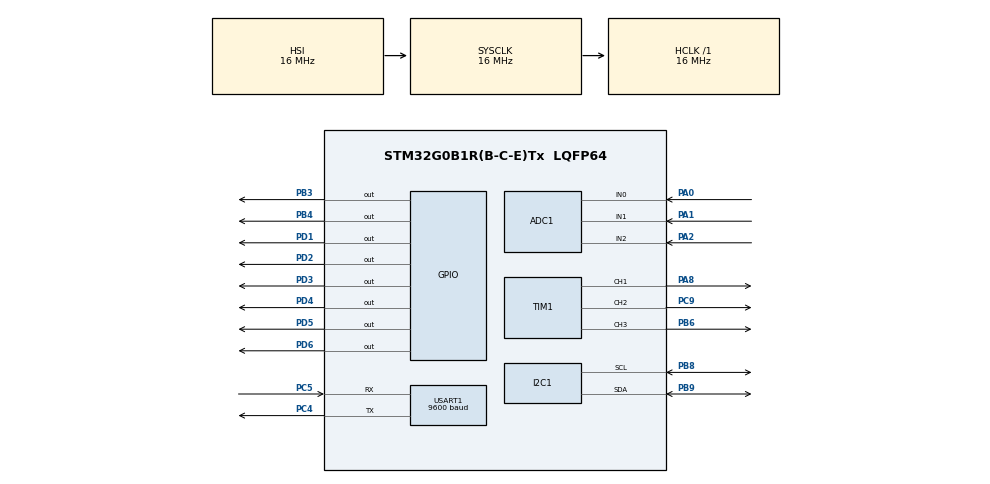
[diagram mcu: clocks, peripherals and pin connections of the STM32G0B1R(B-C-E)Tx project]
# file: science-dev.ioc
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ADC1.Channel-0\#ChannelRegularConversion=ADC_CHANNEL_0
ADC1.Channel-1\#ChannelRegularConversion=ADC_CHANNEL_1
ADC1.Channel-2\#ChannelRegularConversion=ADC_CHANNEL_2
ADC1.DiscontinuousConvMode=ENABLE
ADC1.NbrOfConversion=3
ADC1.NbrOfConversionFlag=1
ADC1.Rank-0\#ChannelRegularConversion=1
ADC1.Rank-1\#ChannelRegularConversion=2
ADC1.Rank-2\#ChannelRegularConversion=3
ADC1.SamplingTime-0\#ChannelRegularConversion=ADC_SAMPLINGTIME_COMMON_1
ADC1.SamplingTime-1\#ChannelRegularConversion=ADC_SAMPLINGTIME_COMMON_1
ADC1.SamplingTime-2\#ChannelRegularConversion=ADC_SAMPLINGTIME_COMMON_1
ADC1.SelectedChannel=ADC_CHANNEL_0|ADC_CHANNEL_1|ADC_CHANNEL_2
ADC1.master=1
Dma.ADC1.0.Direction=DMA_PERIPH_TO_MEMORY
Dma.ADC1.0.EventEnable=DISABLE
Dma.ADC1.0.Instance=DMA1_Channel1
Dma.ADC1.0.MemDataAlignment=DMA_MDATAALIGN_HALFWORD
Dma.ADC1.0.MemInc=DMA_MINC_ENABLE
Dma.ADC1.0.Mode=DMA_CIRCULAR
Dma.ADC1.0.PeriphDataAlignment=DMA_PDATAALIGN_HALFWORD
Dma.ADC1.0.PeriphInc=DMA_PINC_DISABLE
Dma.ADC1.0.Polarity=HAL_DMAMUX_REQ_GEN_RISING
Dma.ADC1.0.Priority=DMA_PRIORITY_LOW
Dma.ADC1.0.RequestNumber=1
Dma.ADC1.0.SignalID=NONE
Dma.ADC1.0.SyncEnable=DISABLE
Dma.ADC1.0.SyncPolarity=HAL_DMAMUX_SYNC_NO_EVENT
Dma.ADC1.0.SyncRequestNumber=1
Dma.ADC1.0.SyncSignalID=NONE
Dma.Request0=ADC1
Mcu.Family=STM32G0
Mcu.Name=STM32G0B1R(B-C-E)Tx
Mcu.Package=LQFP64
NVIC.DMA1_Channel1_IRQn=true\:0\:0\:false\:false\:true\:false\:true\:true
PA0.Mode=IN0
PA0.Signal=ADC1_IN0
PA1.Mode=IN1
PA1.Signal=ADC1_IN1
PA13.GPIO_Label=TMS
PA13.Signal=SYS_SWDIO
PA14-BOOT0.GPIO_Label=TCK
PA14-BOOT0.Signal=SYS_SWCLK
PA2.Mode=IN2
PA2.Signal=ADC1_IN2
PA8.Signal=S_TIM1_CH1
PB3.Signal=GPIO_Output
PB4.Signal=GPIO_Output
PB6.Signal=S_TIM1_CH3
PB8.Mode=I2C
PB8.Signal=I2C1_SCL
PB9.Mode=I2C
PB9.Signal=I2C1_SDA
PC13.Signal=SYS_WKUP2
PC14-OSC32_IN\ (PC14).Signal=RCC_OSC32_IN
PC15-OSC32_OUT\ (PC15).Signal=RCC_OSC32_OUT
PC4.Mode=Asynchronous
PC4.Signal=USART1_TX
PC5.Mode=Asynchronous
PC5.Signal=USART1_RX
PC9.Signal=S_TIM1_CH2
PD1.Signal=GPIO_Output
PD2.Signal=GPIO_Output
PD3.Signal=GPIO_Output
PD4.Signal=GPIO_Output
PD5.Signal=GPIO_Output
PD6.Signal=GPIO_Output
PF0-OSC_IN\ (PF0).GPIO_Label=MCO
PF0-OSC_IN\ (PF0).Signal=RCC_OSC_IN
ProjectManager.HeapSize=0x200
ProjectManager.StackSize=0x400
ProjectManager.TargetToolchain=STM32CubeIDE
RCC.AHBFreq_Value=16000000
RCC.CortexFreq_Value=16000000
RCC.EXTERNAL_CLOCK_VALUE=12288000
RCC.HCLKFreq_Value=16000000
RCC.HSE_VALUE=8000000
RCC.HSI48_VALUE=48000000
RCC.HSI_VALUE=16000000
RCC.LSE_VALUE=32768
RCC.SYSCLKFreq_VALUE=16000000
RCC.USBFreq_Value=48000000
RCC.VCOOutputFreq_Value=128000000
SH.S_TIM1_CH1.0=TIM1_CH1,PWM Generation1 CH1
SH.S_TIM1_CH2.0=TIM1_CH2,PWM Generation2 CH2
SH.S_TIM1_CH3.0=TIM1_CH3,PWM Generation3 CH3
TIM1.Channel-PWM\ Generation1\ CH1=TIM_CHANNEL_1
TIM1.Channel-PWM\ Generation2\ CH2=TIM_CHANNEL_2
TIM1.Channel-PWM\ Generation3\ CH3=TIM_CHANNEL_3
USART1.BaudRate=9600
USART1.VirtualMode-Asynchronous=VM_ASYNC
board=NUCLEO-G0B1RE

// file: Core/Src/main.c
/* USER CODE BEGIN Header */
/**
  ******************************************************************************
  * @file           : main.c
  * @brief          : Main program body
  ******************************************************************************
  * @attention
  *
  * Copyright (c) 2022 STMicroelectronics.
  * All rights reserved.
  *
  * This software is licensed under terms that can be found in the LICENSE file
  * in the root directory of this software component.
  * If no LICENSE file comes with this software, it is provided AS-IS.
  *
  ******************************************************************************
  */
/* USER CODE END Header */
#include "main.h"

/* USER CODE BEGIN Includes */

#include "bridge.h"
#include "mosfet.h"
#include "servo.h"
#include "spectral.h"
#include "thermistor.h"

/* USER CODE END Includes */

ADC_HandleTypeDef hadc1;

I2C_HandleTypeDef hi2c1;

TIM_HandleTypeDef htim1;

UART_HandleTypeDef huart1;

/* USER CODE BEGIN PV */

Bridge* bridge = NULL;
SMBus* smbus = NULL;
Spectral* spectral = NULL;

uint16_t spectral_data[SPECTRAL_CHANNELS] = {0};

/* USER CODE END PV */

void SystemClock_Config(void);
static void MX_GPIO_Init(void);
static void MX_ADC1_Init(void);
static void MX_I2C1_Init(void);
static void MX_TIM1_Init(void);
static void MX_USART1_UART_Init(void);

int main(void)
{
  /* USER CODE BEGIN 1 */

	bridge = new_bridge(&huart1);
	smbus = new_smbus(&hi2c1, NULL, false);
	spectral = new_spectral(smbus);

  /* USER CODE END 1 */

  /* MCU Configuration--------------------------------------------------------*/

  /* Reset of all peripherals, Initializes the Flash interface and the Systick. */
  HAL_Init();

  /* Configure the system clock */
  SystemClock_Config();

  /* Initialize all configured peripherals */
  MX_GPIO_Init();
  MX_ADC1_Init();
  MX_I2C1_Init();
  MX_TIM1_Init();
  MX_USART1_UART_Init();
  /* USER CODE BEGIN 2 */

  // PB9 SDA, PB8 SCL

  /* USER CODE END 2 */

  /* Infinite loop */
  while (1)
  {

    /* USER CODE BEGIN 3 */
	// Initialize spectral (in case it disconnected before and needs to reconnect)
	initialize_spectral(spectral);

	HAL_GPIO_WritePin(GPIOD, GPIO_PIN_2, GPIO_PIN_RESET);

	for (size_t i = 0; i < SPECTRAL_CHANNELS; ++i) {
	  uint8_t error_flag = 0;
	  update_spectral_channel_data(spectral, i, I2C_51, error_flag);

	  // If spectral I2C NAKs, leave early
	  if(error_flag) {
		  break;
	  }

	  spectral_data[i] = get_spectral_channel_data(spectral, i);
	}
//	bridge_send_spectral(bridge, spectral_data);

	HAL_GPIO_WritePin(GPIOD, GPIO_PIN_2, GPIO_PIN_SET);
  }
  /* USER CODE END 3 */
}

void SystemClock_Config(void)
{
  RCC_OscInitTypeDef RCC_OscInitStruct = {0};
  RCC_ClkInitTypeDef RCC_ClkInitStruct = {0};

  /** Configure the main internal regulator output voltage
  */
  HAL_PWREx_ControlVoltageScaling(PWR_REGULATOR_VOLTAGE_SCALE1);

  /** Initializes the RCC Oscillators according to the specified parameters
  * in the RCC_OscInitTypeDef structure.
  */
  RCC_OscInitStruct.OscillatorType = RCC_OSCILLATORTYPE_HSI;
  RCC_OscInitStruct.HSIState = RCC_HSI_ON;
  RCC_OscInitStruct.HSIDiv = RCC_HSI_DIV1;
  RCC_OscInitStruct.HSICalibrationValue = RCC_HSICALIBRATION_DEFAULT;
  RCC_OscInitStruct.PLL.PLLState = RCC_PLL_NONE;
  if (HAL_RCC_OscConfig(&RCC_OscInitStruct) != HAL_OK)
  {
    Error_Handler();
  }

  /** Initializes the CPU, AHB and APB buses clocks
  */
  RCC_ClkInitStruct.ClockType = RCC_CLOCKTYPE_HCLK|RCC_CLOCKTYPE_SYSCLK
                              |RCC_CLOCKTYPE_PCLK1;
  RCC_ClkInitStruct.SYSCLKSource = RCC_SYSCLKSOURCE_HSI;
  RCC_ClkInitStruct.AHBCLKDivider = RCC_SYSCLK_DIV1;
  RCC_ClkInitStruct.APB1CLKDivider = RCC_HCLK_DIV1;

  if (HAL_RCC_ClockConfig(&RCC_ClkInitStruct, FLASH_LATENCY_0) != HAL_OK)
  {
    Error_Handler();
  }
}

static void MX_ADC1_Init(void)
{

  ADC_ChannelConfTypeDef sConfig = {0};

  /** Configure the global features of the ADC (Clock, Resolution, Data Alignment and number of conversion)
  */
  hadc1.Instance = ADC1;
  hadc1.Init.ClockPrescaler = ADC_CLOCK_SYNC_PCLK_DIV2;
  hadc1.Init.Resolution = ADC_RESOLUTION_12B;
  hadc1.Init.DataAlign = ADC_DATAALIGN_RIGHT;
  hadc1.Init.ScanConvMode = ADC_SCAN_DISABLE;
  hadc1.Init.EOCSelection = ADC_EOC_SINGLE_CONV;
  hadc1.Init.LowPowerAutoWait = DISABLE;
  hadc1.Init.LowPowerAutoPowerOff = DISABLE;
  hadc1.Init.ContinuousConvMode = DISABLE;
  hadc1.Init.NbrOfConversion = 1;
  hadc1.Init.DiscontinuousConvMode = DISABLE;
  hadc1.Init.ExternalTrigConv = ADC_SOFTWARE_START;
  hadc1.Init.ExternalTrigConvEdge = ADC_EXTERNALTRIGCONVEDGE_NONE;
  hadc1.Init.DMAContinuousRequests = DISABLE;
  hadc1.Init.Overrun = ADC_OVR_DATA_PRESERVED;
  hadc1.Init.SamplingTimeCommon1 = ADC_SAMPLETIME_1CYCLE_5;
  hadc1.Init.SamplingTimeCommon2 = ADC_SAMPLETIME_1CYCLE_5;
  hadc1.Init.OversamplingMode = DISABLE;
  hadc1.Init.TriggerFrequencyMode = ADC_TRIGGER_FREQ_HIGH;
  if (HAL_ADC_Init(&hadc1) != HAL_OK)
  {
    Error_Handler();
  }

  /** Configure Regular Channel
  */
  sConfig.Channel = ADC_CHANNEL_0;
  sConfig.Rank = ADC_REGULAR_RANK_1;
  sConfig.SamplingTime = ADC_SAMPLINGTIME_COMMON_1;
  if (HAL_ADC_ConfigChannel(&hadc1, &sConfig) != HAL_OK)
  {
    Error_Handler();
  }

}

static void MX_I2C1_Init(void)
{

  hi2c1.Instance = I2C1;
  hi2c1.Init.Timing = 0x00303D5B;
  hi2c1.Init.OwnAddress1 = 0;
  hi2c1.Init.AddressingMode = I2C_ADDRESSINGMODE_7BIT;
  hi2c1.Init.DualAddressMode = I2C_DUALADDRESS_DISABLE;
  hi2c1.Init.OwnAddress2 = 0;
  hi2c1.Init.OwnAddress2Masks = I2C_OA2_NOMASK;
  hi2c1.Init.GeneralCallMode = I2C_GENERALCALL_DISABLE;
  hi2c1.Init.NoStretchMode = I2C_NOSTRETCH_DISABLE;
  if (HAL_I2C_Init(&hi2c1) != HAL_OK)
  {
    Error_Handler();
  }

  /** Configure Analogue filter
  */
  if (HAL_I2CEx_ConfigAnalogFilter(&hi2c1, I2C_ANALOGFILTER_ENABLE) != HAL_OK)
  {
    Error_Handler();
  }

  /** Configure Digital filter
  */
  if (HAL_I2CEx_ConfigDigitalFilter(&hi2c1, 0) != HAL_OK)
  {
    Error_Handler();
  }

}

static void MX_TIM1_Init(void)
{

  TIM_MasterConfigTypeDef sMasterConfig = {0};
  TIM_OC_InitTypeDef sConfigOC = {0};
  TIM_BreakDeadTimeConfigTypeDef sBreakDeadTimeConfig = {0};

  htim1.Instance = TIM1;
  htim1.Init.Prescaler = 0;
  htim1.Init.CounterMode = TIM_COUNTERMODE_UP;
  htim1.Init.Period = 65535;
  htim1.Init.ClockDivision = TIM_CLOCKDIVISION_DIV1;
  htim1.Init.RepetitionCounter = 0;
  htim1.Init.AutoReloadPreload = TIM_AUTORELOAD_PRELOAD_DISABLE;
  if (HAL_TIM_PWM_Init(&htim1) != HAL_OK)
  {
    Error_Handler();
  }
  sMasterConfig.MasterOutputTrigger = TIM_TRGO_RESET;
  sMasterConfig.MasterOutputTrigger2 = TIM_TRGO2_RESET;
  sMasterConfig.MasterSlaveMode = TIM_MASTERSLAVEMODE_DISABLE;
  if (HAL_TIMEx_MasterConfigSynchronization(&htim1, &sMasterConfig) != HAL_OK)
  {
    Error_Handler();
  }
  sConfigOC.OCMode = TIM_OCMODE_PWM1;
  sConfigOC.Pulse = 0;
  sConfigOC.OCPolarity = TIM_OCPOLARITY_HIGH;
  sConfigOC.OCNPolarity = TIM_OCNPOLARITY_HIGH;
  sConfigOC.OCFastMode = TIM_OCFAST_DISABLE;
  sConfigOC.OCIdleState = TIM_OCIDLESTATE_RESET;
  sConfigOC.OCNIdleState = TIM_OCNIDLESTATE_RESET;
  if (HAL_TIM_PWM_ConfigChannel(&htim1, &sConfigOC, TIM_CHANNEL_1) != HAL_OK)
  {
    Error_Handler();
  }
  if (HAL_TIM_PWM_ConfigChannel(&htim1, &sConfigOC, TIM_CHANNEL_2) != HAL_OK)
  {
    Error_Handler();
  }
  if (HAL_TIM_PWM_ConfigChannel(&htim1, &sConfigOC, TIM_CHANNEL_3) != HAL_OK)
  {
    Error_Handler();
  }
  sBreakDeadTimeConfig.OffStateRunMode = TIM_OSSR_DISABLE;
  sBreakDeadTimeConfig.OffStateIDLEMode = TIM_OSSI_DISABLE;
  sBreakDeadTimeConfig.LockLevel = TIM_LOCKLEVEL_OFF;
  sBreakDeadTimeConfig.DeadTime = 0;
  sBreakDeadTimeConfig.BreakState = TIM_BREAK_DISABLE;
  sBreakDeadTimeConfig.BreakPolarity = TIM_BREAKPOLARITY_HIGH;
  sBreakDeadTimeConfig.BreakFilter = 0;
  sBreakDeadTimeConfig.BreakAFMode = TIM_BREAK_AFMODE_INPUT;
  sBreakDeadTimeConfig.Break2State = TIM_BREAK2_DISABLE;
  sBreakDeadTimeConfig.Break2Polarity = TIM_BREAK2POLARITY_HIGH;
  sBreakDeadTimeConfig.Break2Filter = 0;
  sBreakDeadTimeConfig.Break2AFMode = TIM_BREAK_AFMODE_INPUT;
  sBreakDeadTimeConfig.AutomaticOutput = TIM_AUTOMATICOUTPUT_DISABLE;
  if (HAL_TIMEx_ConfigBreakDeadTime(&htim1, &sBreakDeadTimeConfig) != HAL_OK)
  {
    Error_Handler();
  }
  HAL_TIM_MspPostInit(&htim1);

}

static void MX_USART1_UART_Init(void)
{

  huart1.Instance = USART1;
  huart1.Init.BaudRate = 9600;
  huart1.Init.WordLength = UART_WORDLENGTH_8B;
  huart1.Init.StopBits = UART_STOPBITS_1;
  huart1.Init.Parity = UART_PARITY_NONE;
  huart1.Init.Mode = UART_MODE_TX_RX;
  huart1.Init.HwFlowCtl = UART_HWCONTROL_NONE;
  huart1.Init.OverSampling = UART_OVERSAMPLING_16;
  huart1.Init.OneBitSampling = UART_ONE_BIT_SAMPLE_DISABLE;
  huart1.Init.ClockPrescaler = UART_PRESCALER_DIV1;
  huart1.AdvancedInit.AdvFeatureInit = UART_ADVFEATURE_NO_INIT;
  if (HAL_UART_Init(&huart1) != HAL_OK)
  {
    Error_Handler();
  }
  if (HAL_UARTEx_SetTxFifoThreshold(&huart1, UART_TXFIFO_THRESHOLD_1_8) != HAL_OK)
  {
    Error_Handler();
  }
  if (HAL_UARTEx_SetRxFifoThreshold(&huart1, UART_RXFIFO_THRESHOLD_1_8) != HAL_OK)
  {
    Error_Handler();
  }
  if (HAL_UARTEx_DisableFifoMode(&huart1) != HAL_OK)
  {
    Error_Handler();
  }

}

static void MX_GPIO_Init(void)
{
  GPIO_InitTypeDef GPIO_InitStruct = {0};

  /* GPIO Ports Clock Enable */
  __HAL_RCC_GPIOC_CLK_ENABLE();
  __HAL_RCC_GPIOF_CLK_ENABLE();
  __HAL_RCC_GPIOA_CLK_ENABLE();
  __HAL_RCC_GPIOD_CLK_ENABLE();
  __HAL_RCC_GPIOB_CLK_ENABLE();

  /*Configure GPIO pin Output Level */
  HAL_GPIO_WritePin(GPIOD, GPIO_PIN_1|GPIO_PIN_2|GPIO_PIN_3|GPIO_PIN_4
                          |GPIO_PIN_5|GPIO_PIN_6, GPIO_PIN_RESET);

  /*Configure GPIO pin Output Level */
  HAL_GPIO_WritePin(GPIOB, GPIO_PIN_3|GPIO_PIN_4, GPIO_PIN_RESET);

  /*Configure GPIO pins : PD1 PD2 PD3 PD4
                           PD5 PD6 */
  GPIO_InitStruct.Pin = GPIO_PIN_1|GPIO_PIN_2|GPIO_PIN_3|GPIO_PIN_4
                          |GPIO_PIN_5|GPIO_PIN_6;
  GPIO_InitStruct.Mode = GPIO_MODE_OUTPUT_PP;
  GPIO_InitStruct.Pull = GPIO_NOPULL;
  GPIO_InitStruct.Speed = GPIO_SPEED_FREQ_LOW;
  HAL_GPIO_Init(GPIOD, &GPIO_InitStruct);

  /*Configure GPIO pins : PB3 PB4 */
  GPIO_InitStruct.Pin = GPIO_PIN_3|GPIO_PIN_4;
  GPIO_InitStruct.Mode = GPIO_MODE_OUTPUT_PP;
  GPIO_InitStruct.Pull = GPIO_NOPULL;
  GPIO_InitStruct.Speed = GPIO_SPEED_FREQ_LOW;
  HAL_GPIO_Init(GPIOB, &GPIO_InitStruct);

}

void Error_Handler(void)
{
  __disable_irq();
  while (1)
  {
  }
}
